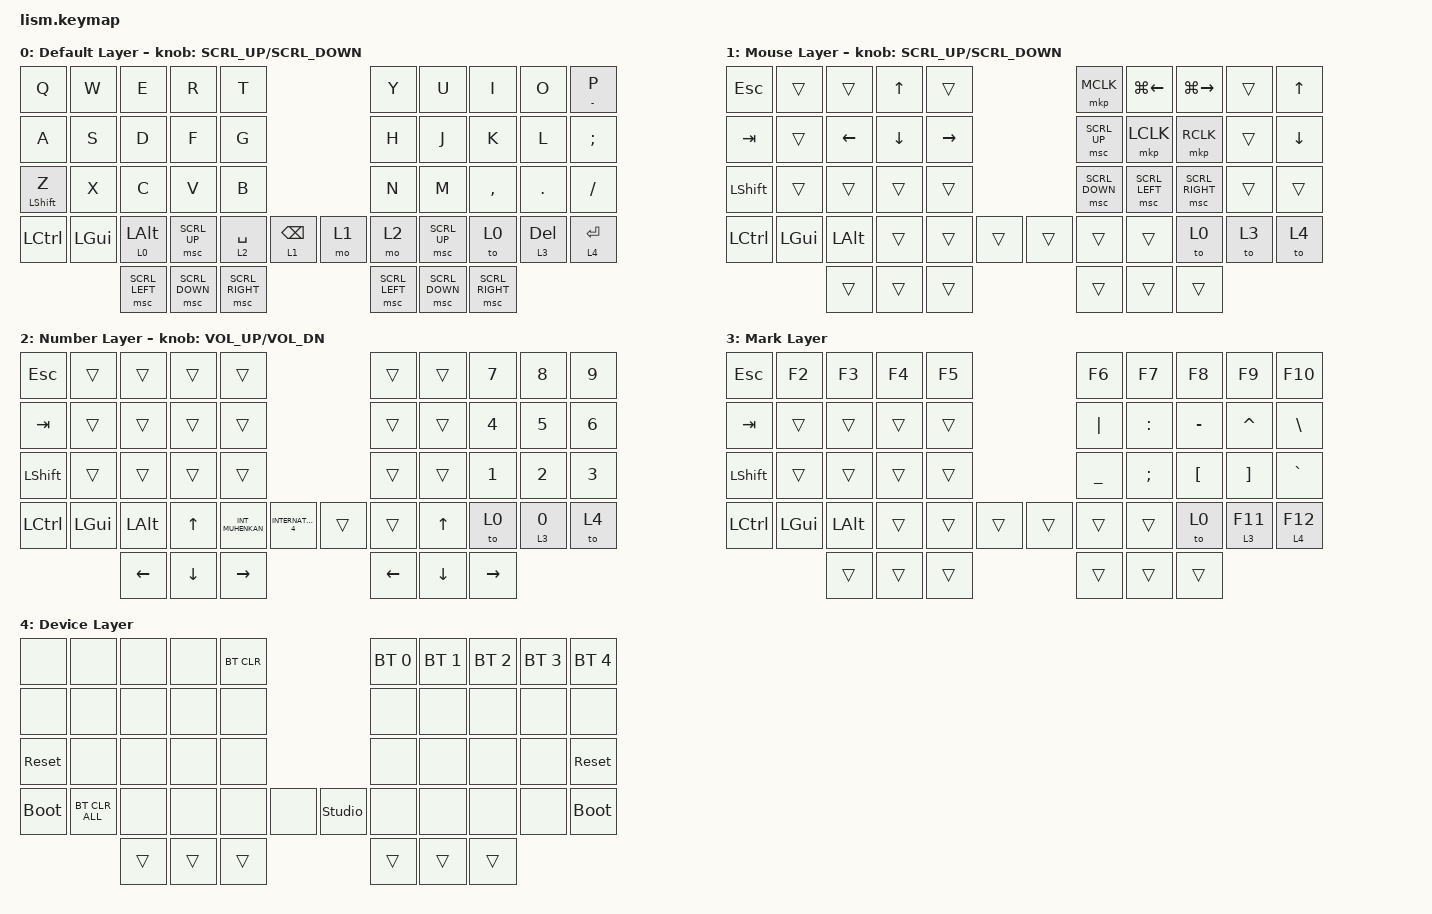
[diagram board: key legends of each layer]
#define ZMK_POINTING_DEFAULT_SCRL_VAL 200

#include <dt-bindings/zmk/mouse.h>
#include <behaviors.dtsi>
#include <dt-bindings/zmk/bt.h>
#include <dt-bindings/zmk/keys.h>
#include <dt-bindings/zmk/pointing.h>

&mt {
    tapping-term-ms = <300>;
    flavor = "balanced";
};

&lt { quick-tap-ms = <300>; };

/ {
    macros {
        emoji: emoji_macro {
            compatible = "zmk,behavior-macro";
            label = "EMOJI";
            #binding-cells = <0>;
            bindings =
                <&macro_press>,
                <&kp CAPSLOCK>,
                <&macro_tap>,
                <&kp E>,
                <&macro_release>,
                <&kp CAPSLOCK>;
        };
    };

    behaviors {
        encoder_msc: sensor_rotate_msc {
            compatible = "zmk,behavior-sensor-rotate-var";
            #sensor-binding-cells = <2>;
            bindings = <&msc>, <&msc>;

            tap-ms = <20>;
        };

        encoder_kp: sensor_rotate_kp {
            compatible = "zmk,behavior-sensor-rotate-var";
            #sensor-binding-cells = <2>;
            bindings = <&kp>, <&kp>;
        };
    };

    keymap {
        compatible = "zmk,keymap";

        default_layer {
            display-name = "Default Layer";
            bindings = <
&kp Q         &kp W     &kp E           &kp R           &kp T                                      &kp Y           &kp U           &kp I            &kp O         &mt MINUS P
&kp A         &kp S     &kp D           &kp F           &kp G                                      &kp H           &kp J           &kp K            &kp L         &kp SEMICOLON
&mt LSHIFT Z  &kp X     &kp C           &kp V           &kp B                                      &kp N           &kp M           &kp COMMA        &kp DOT       &kp SLASH
&kp LCTRL     &kp LGUI  &lt 0 LALT      &msc SCRL_UP    &lt 2 SPACE      &lt 1 BACKSPACE    &mo 1  &mo 2           &msc SCRL_UP    &to 0            &lt 3 DELETE  &lt 4 ENTER
                        &msc SCRL_LEFT  &msc SCRL_DOWN  &msc SCRL_RIGHT                            &msc SCRL_LEFT  &msc SCRL_DOWN  &msc SCRL_RIGHT
            >;

            sensor-bindings = <&encoder_msc SCRL_UP SCRL_DOWN>;
        };

        layer_1 {
            display-name = "Mouse Layer";
            bindings = <
&kp ESC    &trans    &trans    &kp UP    &trans                       &mkp MCLK       &kp LG(LEFT)    &kp LG(RIGHT)    &trans  &kp UP
&kp TAB    &trans    &kp LEFT  &kp DOWN  &kp RIGHT                    &msc SCRL_UP    &mkp LCLK       &mkp RCLK        &trans  &kp DOWN
&kp LSHFT  &trans    &trans    &trans    &trans                       &msc SCRL_DOWN  &msc SCRL_LEFT  &msc SCRL_RIGHT  &trans  &trans
&kp LCTRL  &kp LGUI  &kp LALT  &trans    &trans     &trans    &trans  &trans          &trans          &to 0            &to 3   &to 4
                     &trans    &trans    &trans                       &trans          &trans          &trans
            >;

            sensor-bindings = <&encoder_msc SCRL_UP SCRL_DOWN>;
        };

        layer_2 {
            display-name = "Number Layer";
            bindings = <
&kp ESC     &trans    &trans    &trans    &trans                                           &trans    &trans    &kp N7     &kp N8    &kp N9
&kp TAB     &trans    &trans    &trans    &trans                                           &trans    &trans    &kp N4     &kp N5    &kp N6
&kp LSHIFT  &trans    &trans    &trans    &trans                                           &trans    &trans    &kp N1     &kp N2    &kp N3
&kp LCTRL   &kp LGUI  &kp LALT  &kp UP    &kp INT_MUHENKAN  &kp INTERNATIONAL_4    &trans  &trans    &kp UP    &to 0      &lt 3 N0  &to 4
                      &kp LEFT  &kp DOWN  &kp RIGHT                                        &kp LEFT  &kp DOWN  &kp RIGHT
            >;

            sensor-bindings = <&encoder_kp C_VOL_UP C_VOL_DN>;
        };

        layer_3 {
            display-name = "Mark Layer";
            bindings = <
&kp ESC     &kp F2    &kp F3    &kp F4  &kp F5                    &kp F6     &kp F7     &kp F8     &kp F9     &kp F10
&kp TAB     &trans    &trans    &trans  &trans                    &kp PIPE   &kp COLON  &kp MINUS  &kp CARET  &kp BACKSLASH
&kp LSHIFT  &trans    &trans    &trans  &trans                    &kp UNDER  &kp SEMI   &kp LBKT   &kp RBKT   &kp GRAVE
&kp LCTRL   &kp LGUI  &kp LALT  &trans  &trans  &trans    &trans  &trans     &trans     &to 0      &lt 3 F11  &lt 4 F12
                      &trans    &trans  &trans                    &trans     &trans     &trans
            >;
        };

        layer_4 {
            display-name = "Device Layer";
            bindings = <
&none        &none           &none   &none   &bt BT_CLR                           &bt BT_SEL 0  &bt BT_SEL 1  &bt BT_SEL 2  &bt BT_SEL 3  &bt BT_SEL 4
&none        &none           &none   &none   &none                                &none         &none         &none         &none         &none
&sys_reset   &none           &none   &none   &none                                &none         &none         &none         &none         &sys_reset
&bootloader  &bt BT_CLR_ALL  &none   &none   &none       &none    &studio_unlock  &none         &none         &none         &none         &bootloader
                             &trans  &trans  &trans                               &trans        &trans        &trans
            >;
        };

        layer_5 {
            status = "reserved";
            display-name = "Brank Layer";
            bindings = <
&trans  &trans  &trans  &trans  &trans                    &trans  &trans  &trans  &trans  &trans
&trans  &trans  &trans  &trans  &trans                    &trans  &trans  &trans  &trans  &trans
&trans  &trans  &trans  &trans  &trans                    &trans  &trans  &trans  &trans  &trans
&trans  &trans  &trans  &trans  &trans  &trans    &trans  &trans  &trans  &trans  &trans  &trans
                &trans  &trans  &trans                    &trans  &trans  &trans
            >;
        };

        layer_6 {
            status = "reserved";
            display-name = "Brank Layer";
            bindings = <
&trans  &trans  &trans  &trans  &trans                    &trans  &trans  &trans  &trans  &trans
&trans  &trans  &trans  &trans  &trans                    &trans  &trans  &trans  &trans  &trans
&trans  &trans  &trans  &trans  &trans                    &trans  &trans  &trans  &trans  &trans
&trans  &trans  &trans  &trans  &trans  &trans    &trans  &trans  &trans  &trans  &trans  &trans
                &trans  &trans  &trans                    &trans  &trans  &trans
            >;
        };

        layer_7 {
            status = "reserved";
            display-name = "Brank Layer";
            bindings = <
&trans  &trans  &trans  &trans  &trans                    &trans  &trans  &trans  &trans  &trans
&trans  &trans  &trans  &trans  &trans                    &trans  &trans  &trans  &trans  &trans
&trans  &trans  &trans  &trans  &trans                    &trans  &trans  &trans  &trans  &trans
&trans  &trans  &trans  &trans  &trans  &trans    &trans  &trans  &trans  &trans  &trans  &trans
                &trans  &trans  &trans                    &trans  &trans  &trans
            >;
        };
    };
};
